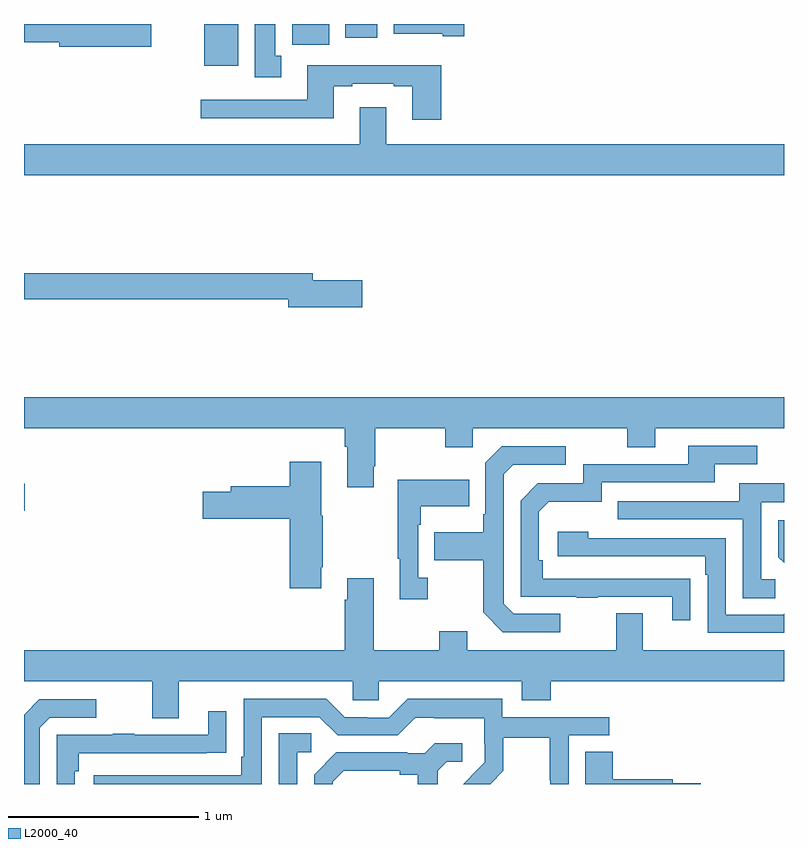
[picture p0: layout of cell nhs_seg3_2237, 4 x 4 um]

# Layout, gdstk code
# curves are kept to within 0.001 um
import gdstk
lib = gdstk.Library(unit=1e-6, precision=1e-09)
def R(c, l, rs):  # rectangles x0, y0, x1, y1
    for r in rs: c.add(gdstk.rectangle(r[:2], r[2:], *l))
def P(c, l, *ps):  # polygons
    for p in ps: c.add(gdstk.Polygon(p, *l))
L2000_40 = (2000, 40)

nhs_seg3_2237 = lib.new_cell('nhs_seg3_2237')
R(nhs_seg3_2237, L2000_40, [(227,677.837,227.005,677.979), (227.948,680.18,228.127,680.4), (228.411,680.292,228.607,680.4), (228.692,680.328,228.859,680.4)])
P(nhs_seg3_2237, L2000_40, [(229.318,680.4),(228.947,680.4),(228.947,680.348),(229.205,680.348),(229.205,680.336),(229.318,680.336)],
  [(228.355,680.233),(228.322,680.233),(228.322,680.4),(228.215,680.4),(228.215,680.121),(228.355,680.121)],
  [(227.671,680.4),(227,680.4),(227,680.303),(227.186,680.303),(227.186,680.279),(227.671,680.279)],
  [(229.196,680.182),(228.491,680.182),(228.491,680.001),(227.931,680.001),(227.931,679.904),(228.631,679.904),(228.631,680.073),(228.727,680.073),(228.727,680.085),(228.947,680.085),(228.947,680.073),(229.043,680.073),(229.043,679.896),(229.196,679.896)],
  [(231,679.768),(228.907,679.768),(228.907,679.963),(228.767,679.963),(228.767,679.768),(227,679.768),(227,679.604),(231,679.604)],
  [(228.781,679.052),(228.52,679.052),(228.52,679.088),(227,679.088),(227,678.952),(228.392,678.952),(228.392,678.91),(228.781,678.91)],
  [(228.841,678.073),(228.849,678.073),(228.849,678.272),(229.216,678.272),(229.216,678.173),(229.362,678.173),(229.362,678.272),(230.176,678.272),(230.176,678.173),(230.323,678.173),(230.323,678.272),(231,678.272),(231,678.436),(227,678.436),(227,678.272),(228.689,678.272),(228.689,678.176),(228.701,678.176),(228.701,677.961),(228.841,677.961)],
  [(230.507,677.48),(229.73,677.481),(229.73,677.578),(229.71,677.578),(229.71,677.832),(229.763,677.885),(230.04,677.885),(230.04,677.988),(230.635,677.988),(230.635,678.084),(230.86,678.084),(230.86,678.18),(230.495,678.18),(230.495,678.084),(229.944,678.084),(229.944,677.982),(229.704,677.982),(229.614,677.892),(229.614,677.385),(229.909,677.385),(229.909,677.38),(230.021,677.38),(230.021,677.385),(230.411,677.385),(230.411,677.262),(230.507,677.262)],
  [(229.822,677.295),(229.578,677.295),(229.524,677.349),(229.524,678.03),(229.575,678.081),(229.852,678.081),(229.852,678.177),(229.515,678.177),(229.428,678.09),(229.428,677.821),(229.416,677.821),(229.416,677.725),(229.159,677.725),(229.159,677.578),(229.416,677.578),(229.416,677.305),(229.521,677.199),(229.822,677.199)],
  [(228.565,677.542),(228.573,677.542),(228.573,677.811),(228.565,677.811),(228.565,678.097),(228.398,678.097),(228.398,677.967),(228.089,677.967),(228.089,677.937),(227.94,677.937),(227.94,677.795),(228.398,677.795),(228.398,677.43),(228.565,677.43)],
  [(229.126,677.486),(229.074,677.486),(229.074,677.765),(229.087,677.765),(229.087,677.861),(229.343,677.861),(229.343,678.001),(228.966,678.001),(228.966,677.585),(228.977,677.585),(228.977,677.373),(229.126,677.373)],
  [(230.953,677.478),(230.88,677.478),(230.88,677.883),(231,677.883),(231,677.983),(230.765,677.983),(230.765,677.889),(230.125,677.889),(230.125,677.793),(230.784,677.793),(230.784,677.377),(230.953,677.377)],
  [(231,677.788),(230.97,677.788),(230.97,677.594),(231,677.564)],
  [(231,677.295),(230.997,677.292),(230.694,677.292),(230.694,677.694),(229.97,677.694),(229.97,677.728),(229.809,677.728),(229.809,677.598),(230.585,677.598),(230.585,677.501),(230.598,677.501),(230.598,677.196),(231,677.196)],
  [(227.815,676.94),(228.729,676.94),(228.729,676.842),(228.867,676.842),(228.867,676.94),(229.619,676.94),(229.619,676.841),(229.772,676.841),(229.772,676.94),(231,676.94),(231,677.104),(230.257,677.104),(230.257,677.299),(230.117,677.299),(230.117,677.104),(229.333,677.104),(229.333,677.203),(229.186,677.203),(229.186,677.104),(228.841,677.104),(228.841,677.482),(228.701,677.482),(228.701,677.369),(228.689,677.369),(228.689,677.104),(227,677.104),(227,676.94),(227.675,676.94),(227.675,676.746),(227.815,676.746)],
  [(228.252,676.752),(228.555,676.752),(228.651,676.656),(228.966,676.656),(229.059,676.749),(229.159,676.749),(229.159,676.745),(229.422,676.745),(229.422,676.611),(229.424,676.611),(229.424,676.514),(229.312,676.4),(229.454,676.4),(229.523,676.469),(229.523,676.644),(229.768,676.644),(229.768,676.42),(229.77,676.42),(229.77,676.4),(229.866,676.4),(229.866,676.656),(230.08,676.656),(230.08,676.752),(229.518,676.752),(229.518,676.849),(229.021,676.849),(228.921,676.749),(228.806,676.749),(228.806,676.752),(228.687,676.752),(228.591,676.848),(228.156,676.848),(228.156,676.543),(228.143,676.543),(228.143,676.446),(227.367,676.446),(227.367,676.4),(228.252,676.4)],
  [(227.082,676.695),(227.136,676.749),(227.38,676.749),(227.38,676.845),(227.079,676.845),(227,676.765),(227,676.4),(227.082,676.4)],
  [(227.268,676.466),(227.288,676.466),(227.288,676.563),(227.963,676.563),(227.963,676.564),(228.065,676.564),(228.065,676.783),(227.969,676.783),(227.969,676.659),(227.579,676.659),(227.579,676.664),(227.467,676.664),(227.467,676.659),(227.172,676.659),(227.172,676.4),(227.268,676.4)],
  [(228.438,676.566),(228.511,676.566),(228.511,676.667),(228.342,676.667),(228.342,676.4),(228.438,676.4)],
  [(228.625,676.413),(228.682,676.47),(228.977,676.47),(228.977,676.448),(229.073,676.448),(229.073,676.4),(229.177,676.4),(229.177,676.471),(229.224,676.518),(229.306,676.518),(229.306,676.615),(229.162,676.615),(229.11,676.563),(229.016,676.563),(229.016,676.566),(228.644,676.566),(228.528,676.45),(228.528,676.4),(228.625,676.4)],
  [(230.561,676.404),(230.414,676.404),(230.414,676.424),(230.099,676.424),(230.099,676.571),(229.955,676.571),(229.955,676.4),(230.561,676.4)])

lib.write_gds('nhs_seg3_2237.gds')
